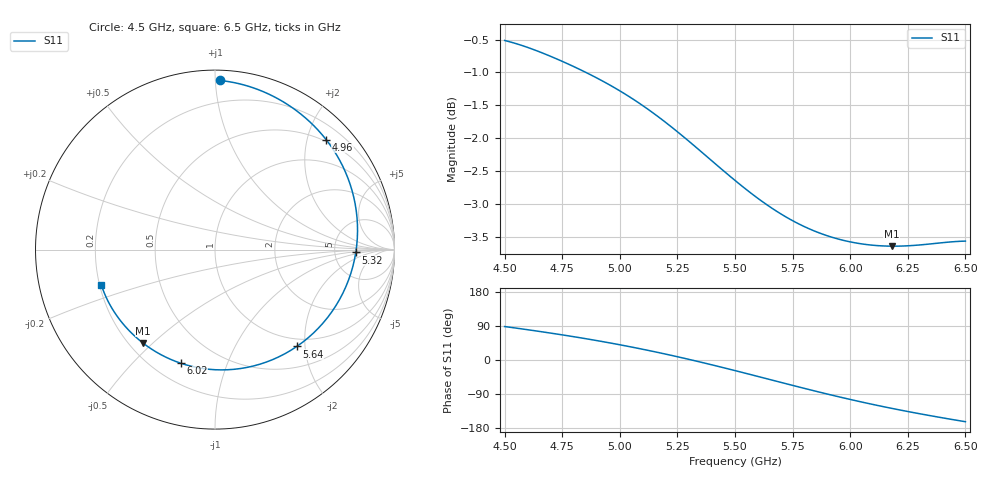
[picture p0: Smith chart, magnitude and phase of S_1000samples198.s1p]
! TOUCHSTONE file generated by CST MICROWAVE STUDIO
! Date and time: Thu Oct 27 08:33:08 2022
! Project name: L.cst
! Parameters = {Di=1.27; Epsilon_r=1.56; InnerDiameter=1.27; Length=2; Lf=10; Lg=60; OuterConductorThickness=0.2921; OuterDiameter=3.6; Wf=3; Wp=41.2; de=1.5; df=6.8; g=0.8; gx=4.32556; gy=2.59781; h=2.34; hf=1.524; px=12.5505; py=10.0334; w=9.7; wx=8.22495; wy=7.43557}
! Header version: 2018
! Port assignment regex: !\s*Touchstone port\s*([0-9]+)\s*=\s*(CST MWS port|CST DS port)\s*([0-9]+|Zmin|Zmax)\s*\(\"(.*)\"\)(\s*mode\s*([0-9]+))?.*
! Touchstone port assignment:
! Touchstone port 1 = CST MWS port 1 ("")
# GHz S DB R 50
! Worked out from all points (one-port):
!   101 points, 4.5 GHz to 6.5 GHz, reference 50 ohm
!   lowest |S11| = -3.6 dB at 6.18 GHz (marker M1), VSWR 4.83, Z = 12.7 - j23.3 ohm
!   |S11| at or under -10 dB: nowhere
!   S11 on the Smith chart (normalised r, x): 4.5 GHz: 0.06, +1.03; 4.96 GHz: 0.46, +2.35; 5.32 GHz: 8.22, -0.69; 5.64 GHz: 0.85, -1.84; 6.02 GHz: 0.31, -0.70; 6.5 GHz: 0.21, -0.14
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4.5  -0.51 88.3
4.58  -0.60 81.6
4.64  -0.67 76.4
4.76  -0.85 65.3
4.86  -1.01 55.4
4.96  -1.20 44.7
5  -1.28 40.2
5.08  -1.46 30.7
5.14  -1.61 23.2
5.2  -1.76 15.4
5.26  -1.93 7.3
5.32  -2.11 -1.2
5.4  -2.35 -12.8
5.5  -2.64 -28.0
5.58  -2.87 -40.4
5.64  -3.02 -49.8
5.7  -3.16 -59.2
5.76  -3.28 -68.5
5.82  -3.38 -77.7
5.88  -3.46 -86.8
5.94  -3.53 -95.6
6  -3.58 -104.1
6.02  -3.59 -106.8
6.1  -3.63 -117.5
6.18  -3.65 -127.6
6.26  -3.64 -137.1
6.38  -3.60 -150.4
6.5  -3.57 -162.8
